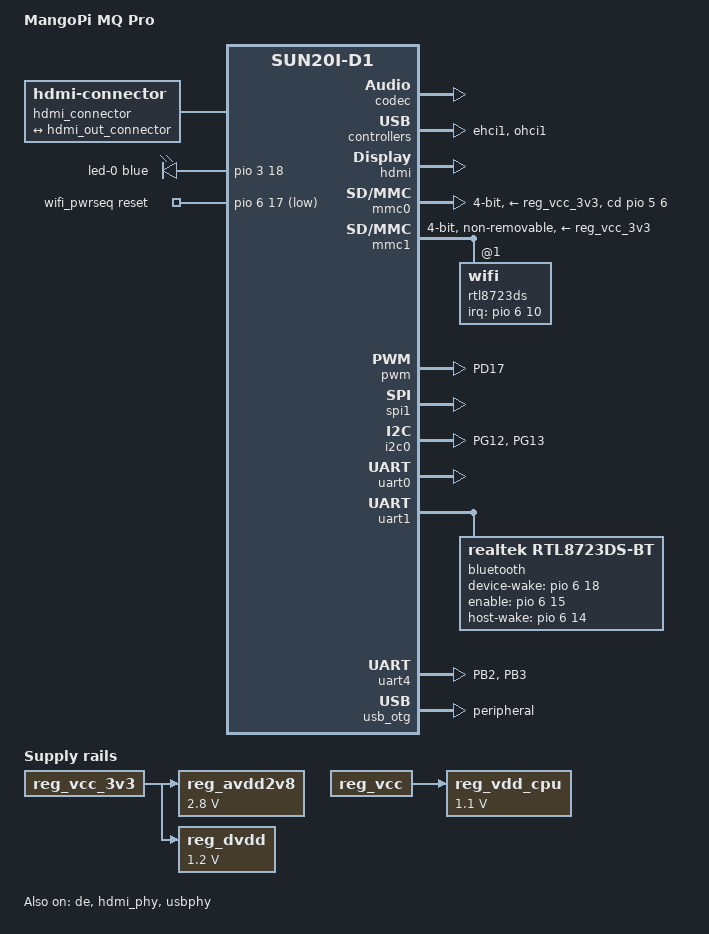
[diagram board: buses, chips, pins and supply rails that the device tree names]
// SPDX-License-Identifier: (GPL-2.0+ OR MIT)
// Copyright (C) 2022 Samuel Holland <samuel@sholland.org>

#include <dt-bindings/gpio/gpio.h>
#include <dt-bindings/leds/common.h>

/dts-v1/;

#include "sun20i-d1.dtsi"
#include "sun20i-common-regulators.dtsi"

/ {
	model = "MangoPi MQ Pro";
	compatible = "widora,mangopi-mq-pro", "allwinner,sun20i-d1";

	aliases {
		ethernet0 = &rtl8723ds;
		serial0 = &uart0;
	};

	chosen {
		stdout-path = "serial0:115200n8";
	};

	hdmi_connector: connector {
		compatible = "hdmi-connector";
		type = "c";

		port {
			hdmi_connector_in: endpoint {
				remote-endpoint = <&hdmi_out_connector>;
			};
		};
	};

	leds {
		compatible = "gpio-leds";

		led-0 {
			color = <LED_COLOR_ID_BLUE>;
			function = LED_FUNCTION_STATUS;
			gpios = <&pio 3 18 GPIO_ACTIVE_HIGH>; /* PD18 */
		};
	};

	reg_avdd2v8: avdd2v8 {
		compatible = "regulator-fixed";
		regulator-name = "avdd2v8";
		regulator-min-microvolt = <2800000>;
		regulator-max-microvolt = <2800000>;
		vin-supply = <&reg_vcc_3v3>;
	};

	reg_dvdd: dvdd {
		compatible = "regulator-fixed";
		regulator-name = "dvdd";
		regulator-min-microvolt = <1200000>;
		regulator-max-microvolt = <1200000>;
		vin-supply = <&reg_vcc_3v3>;
	};

	reg_vdd_cpu: vdd-cpu {
		compatible = "regulator-fixed";
		regulator-name = "vdd-cpu";
		regulator-min-microvolt = <1100000>;
		regulator-max-microvolt = <1100000>;
		vin-supply = <&reg_vcc>;
	};

	wifi_pwrseq: wifi-pwrseq {
		compatible = "mmc-pwrseq-simple";
		reset-gpios = <&pio 6 17 GPIO_ACTIVE_LOW>; /* PG17 */
	};
};

&cpu0 {
	cpu-supply = <&reg_vdd_cpu>;
};

&dcxo {
	clock-frequency = <24000000>;
};

&codec {
	routing = "Internal Speaker", "HPOUTL",
		  "Internal Speaker", "HPOUTR";
	widgets = "Speaker", "Internal Speaker";
	status = "okay";
};

&de {
	status = "okay";
};

&ehci1 {
	status = "okay";
};

&hdmi {
	status = "okay";
};

&hdmi_out {
	hdmi_out_connector: endpoint {
		remote-endpoint = <&hdmi_connector_in>;
	};
};

&hdmi_phy {
	status = "okay";
};

&mmc0 {
	bus-width = <4>;
	cd-gpios = <&pio 5 6 GPIO_ACTIVE_HIGH>; /* PF6 */
	disable-wp;
	vmmc-supply = <&reg_vcc_3v3>;
	vqmmc-supply = <&reg_vcc_3v3>;
	pinctrl-0 = <&mmc0_pins>;
	pinctrl-names = "default";
	status = "okay";
};

&mmc1 {
	bus-width = <4>;
	mmc-pwrseq = <&wifi_pwrseq>;
	non-removable;
	vmmc-supply = <&reg_vcc_3v3>;
	vqmmc-supply = <&reg_vcc_3v3>;
	pinctrl-0 = <&mmc1_pins>;
	pinctrl-names = "default";
	status = "okay";

	rtl8723ds: wifi@1 {
		reg = <1>;
		interrupt-parent = <&pio>;
		interrupts = <6 10 IRQ_TYPE_LEVEL_LOW>; /* PG10 */
		interrupt-names = "host-wake";
	};
};

&ohci1 {
	status = "okay";
};

&pio {
	vcc-pe-supply = <&reg_avdd2v8>;

    /omit-if-no-ref/
    i2c0_pg12_pins: i2c0-pg12-pins {
        pins = "PG12", "PG13";
        function = "i2c0";
    };

    /omit-if-no-ref/
    i2c1_pb4_pins: i2c1-pb4-pins {
        pins = "PB4", "PB5";
        function = "i2c1";
    };

    /omit-if-no-ref/
    i2c2_pb0_pins: i2c2-pb0-pins {
        pins = "PB0", "PB1";
        function = "i2c2";
    };

    /omit-if-no-ref/
    i2c2_pc0_pins: i2c2-pc0-pins {
        pins = "PC0", "PC1";
        function = "i2c2";
    };

    /omit-if-no-ref/
    i2c3_pe16_pins: i2c3-pe16-pins {
        pins = "PE16", "PE17";
        function = "i2c3";
    };

    /omit-if-no-ref/
    uart2_pc0_pins: uart2-pc0-pins {
        pins = "PC0", "PC1";
        function = "uart2";
    };

    /omit-if-no-ref/
    uart3_pd10_pins: uart3-pd10-pins {
        pins = "PD10", "PD11";
        function = "uart3";
    };

    /omit-if-no-ref/
    uart3_pd13_rts_cts_pins: uart3-pd13-rts-cts-pins {
        pins = "PD13", "PD14";
        function = "uart3";
    };

    /omit-if-no-ref/
    uart3_pb6_pins: uart3-pb6-pins {
        pins = "PB6", "PB7";
        function = "uart3";
    };

    /omit-if-no-ref/
    uart4_pb2_pins: uart4-pb2-pins {
        pins = "PB2", "PB3";
        function = "uart4";
    };

    /omit-if-no-ref/
    uart5_pb4_pins: uart5-pb4-pins {
        pins = "PB4", "PB5";
        function = "uart5";
    };

    /omit-if-no-ref/
    pwm1_pd17_pin: pwm1-pd17-pin {
        pins = "PD17";
        function = "pwm1";
    };
};

&pwm {
	pinctrl-0 = <&pwm1_pd17_pin>;
	pinctrl-names = "default";
	status = "okay";
};

&spi1 {
	pinctrl-0 = <&spi1_pd_pins>;  // can conflict uart3
	pinctrl-names = "default";
	status = "okay";
};

&i2c0 {
	pinctrl-0 = <&i2c0_pg12_pins>;
	pinctrl-names = "default";
	status = "okay";
};

/* disabled
&i2c1 {
	pinctrl-0 = <&i2c1_pb4_pins>;  // can conflict uart5
	pinctrl-names = "default";
	status = "okay";
};

&i2c2 {
	pinctrl-0 = <&i2c2_pb0_pins>;
	pinctrl-names = "default";
	status = "okay";
};

&i2c2 {
	pinctrl-0 = <&i2c2_pc0_pins>;  // can conflict uart2
	pinctrl-names = "default";
	status = "okay";
};

&i2c3 {
	pinctrl-0 = <&i2c3_pe16_pins>;
	pinctrl-names = "default";
	status = "okay";
};
*/

&uart0 {
	pinctrl-0 = <&uart0_pb8_pins>;
	pinctrl-names = "default";
	status = "okay";
};

&uart1 {
	uart-has-rtscts;
	pinctrl-0 = <&uart1_pg6_pins>, <&uart1_pg8_rts_cts_pins>;
	pinctrl-names = "default";
	status = "okay";

	bluetooth {
		compatible = "realtek,rtl8723ds-bt";
		device-wake-gpios = <&pio 6 18 GPIO_ACTIVE_HIGH>; /* PG18 */
		enable-gpios = <&pio 6 15 GPIO_ACTIVE_HIGH>; /* PG15 */
		host-wake-gpios = <&pio 6 14 GPIO_ACTIVE_HIGH>; /* PG14 */
	};
};

/* Disabled
&uart2 {
    pinctrl-0 = <&uart2_pc0_pins>;
    pinctrl-names = "default";
    status = "okay";
};

&uart3 {
    uart-has-rtscts;
    pinctrl-0 = <&uart3_pd10_pins>, <&uart3_pd13_rts_cts_pins>;  // conflicts spi1
    pinctrl-names = "default";
    status = "okay";
};

&uart3 {
    pinctrl-0 = <&uart3_pb6_pins>;
    pinctrl-names = "default";
    status = "okay";
};
*/

&uart4 {
    pinctrl-0 = <&uart4_pb2_pins>;
    pinctrl-names = "default";
    status = "okay";
};

/* Disabled
&uart5 {
    pinctrl-0 = <&uart5_pb4_pins>;  // conflicts i2c1
    pinctrl-names = "default";
    status = "okay";
};
*/

&usb_otg {
	dr_mode = "peripheral";
	status = "okay";
};

&usbphy {
	usb1_vbus-supply = <&reg_vcc>;
	status = "okay";
};
